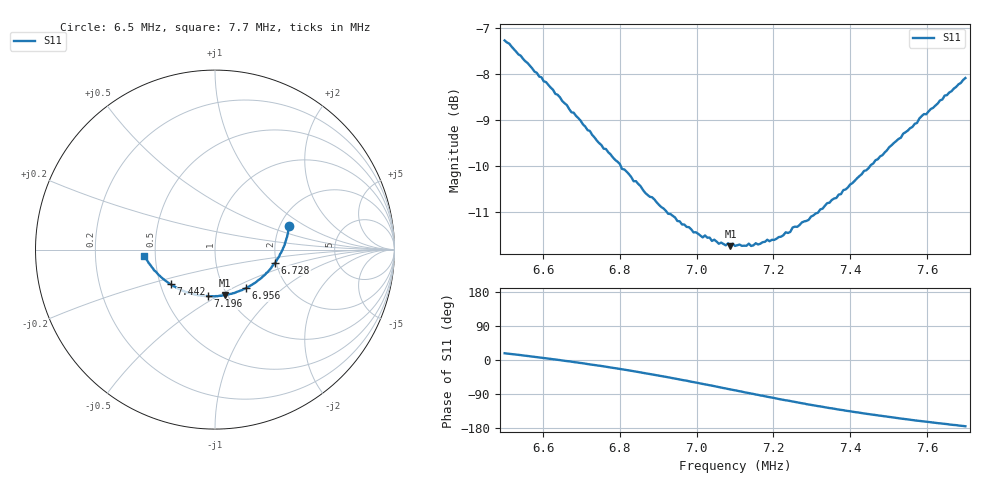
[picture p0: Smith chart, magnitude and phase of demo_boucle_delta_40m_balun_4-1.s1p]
! Delta loop 40 m (~115 ohms) alimentee par un balun 4:1, 10 m de RG213
! Fichier de demonstration simule - Analyseur ROS NanoVNA F4CVQ
# HZ S RI R 50
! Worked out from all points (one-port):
!   201 points, 6.5 MHz to 7.7 MHz, reference 50 ohm
!   lowest |S11| = -11.7 dB at 7.088 MHz (marker M1), VSWR 1.70, Z = 48.8 - j26.5 ohm
!   |S11| at or under -10 dB: 6.803 MHz to 7.451 MHz (648.7 kHz wide, 9.1 % of centre)
!   S11 on the Smith chart (normalised r, x): 6.5 MHz: 2.24, +0.73; 6.728 MHz: 1.97, -0.33; 6.956 MHz: 1.26, -0.59; 7.196 MHz: 0.81, -0.45; 7.442 MHz: 0.57, -0.24; 7.7 MHz: 0.43, -0.04
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6500000  0.4126 0.133
6596000  0.3931 0.0414
6650000  0.3724 -0.00801
6728000  0.3343 -0.073
6800000  0.2914 -0.1275
6806000  0.2859 -0.13
6860000  0.2473 -0.1666
6884000  0.2311 -0.1795
6950000  0.1762 -0.212
6956000  0.1717 -0.2154
7016000  0.1193 -0.2361
7034000  0.1046 -0.2429
7088000  0.0557 -0.2528
7094000  0.051 -0.2555
7100000  0.0451 -0.2551
7136000  0.0129 -0.2602
7142000  0.00683 -0.2589
7196000  -0.0413 -0.2597
7244000  -0.0843 -0.2547
7250000  -0.0915 -0.2553
7292000  -0.1272 -0.2455
7322000  -0.1522 -0.2395
7400000  -0.2149 -0.2124
7442000  -0.2463 -0.1932
7508000  -0.2928 -0.1594
7550000  -0.3178 -0.1364
7646000  -0.3701 -0.0746
7700000  -0.3929 -0.0353
